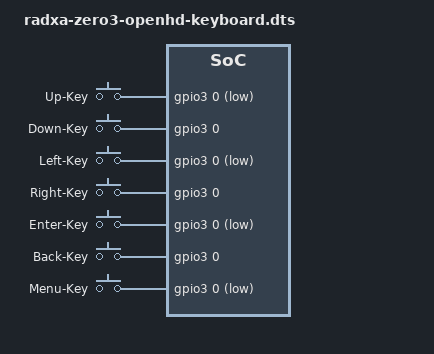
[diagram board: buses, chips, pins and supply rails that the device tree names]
/*
 * Copyright (C) 2024 Raphael from OpenHD
 *
 * This is free software: you can redistribute it and/or modify
 * it under the terms of the GNU General Public License as published by
 * the Free Software Foundation, either version 3 of the License, or
 * (at your option) any later version.
 *
 * This is distributed in the hope that it will be useful,
 * but WITHOUT ANY WARRANTY; without even the implied warranty of
 * MERCHANTABILITY or FITNESS FOR A PARTICULAR PURPOSE. See the
 * GNU General Public License for more details.
 *
 */
/dts-v1/;
/plugin/;

#include <dt-bindings/gpio/gpio.h>
#include <dt-bindings/pinctrl/rockchip.h>

/ {
	compatible = "radxa,zero3";

	fragment@0 {
		target-path = "&gpio3";
		__overlay__ {
			gpio-keys {
				compatible = "gpio-keys";
				#address-cells = <1>;
				#size-cells = <0>;
				autorepeat;
				
				button@1 {
					label = "Up-Key";
					linux,code = <103>;
					gpios = <&gpio3 0 5>;
				};
				button@2 {
					label = "Down-Key";
					linux,code = <108>;
					gpios = <&gpio3 0 6>;
				};
				button@3 {
					label = "Left-Key";
					linux,code = <105>;
					gpios = <&gpio3 0 7>;
				};
				button@4 {
					label = "Right-Key";
					linux,code = <106>;
					gpios = <&gpio3 0 8>;
				};
				button@5 {
					label = "Enter-Key";
					linux,code = <28>;
					gpios = <&gpio3 0 9>;
				};
				button@6 {
					label = "Back-Key";
					linux,code = <14>;
					gpios = <&gpio3 0 10>;
				};
				button@7 {
					label = "Menu-Key";
					linux,code = <50>;
					gpios = <&gpio3 0 11>;
				};
			};
		};
	};	
};
